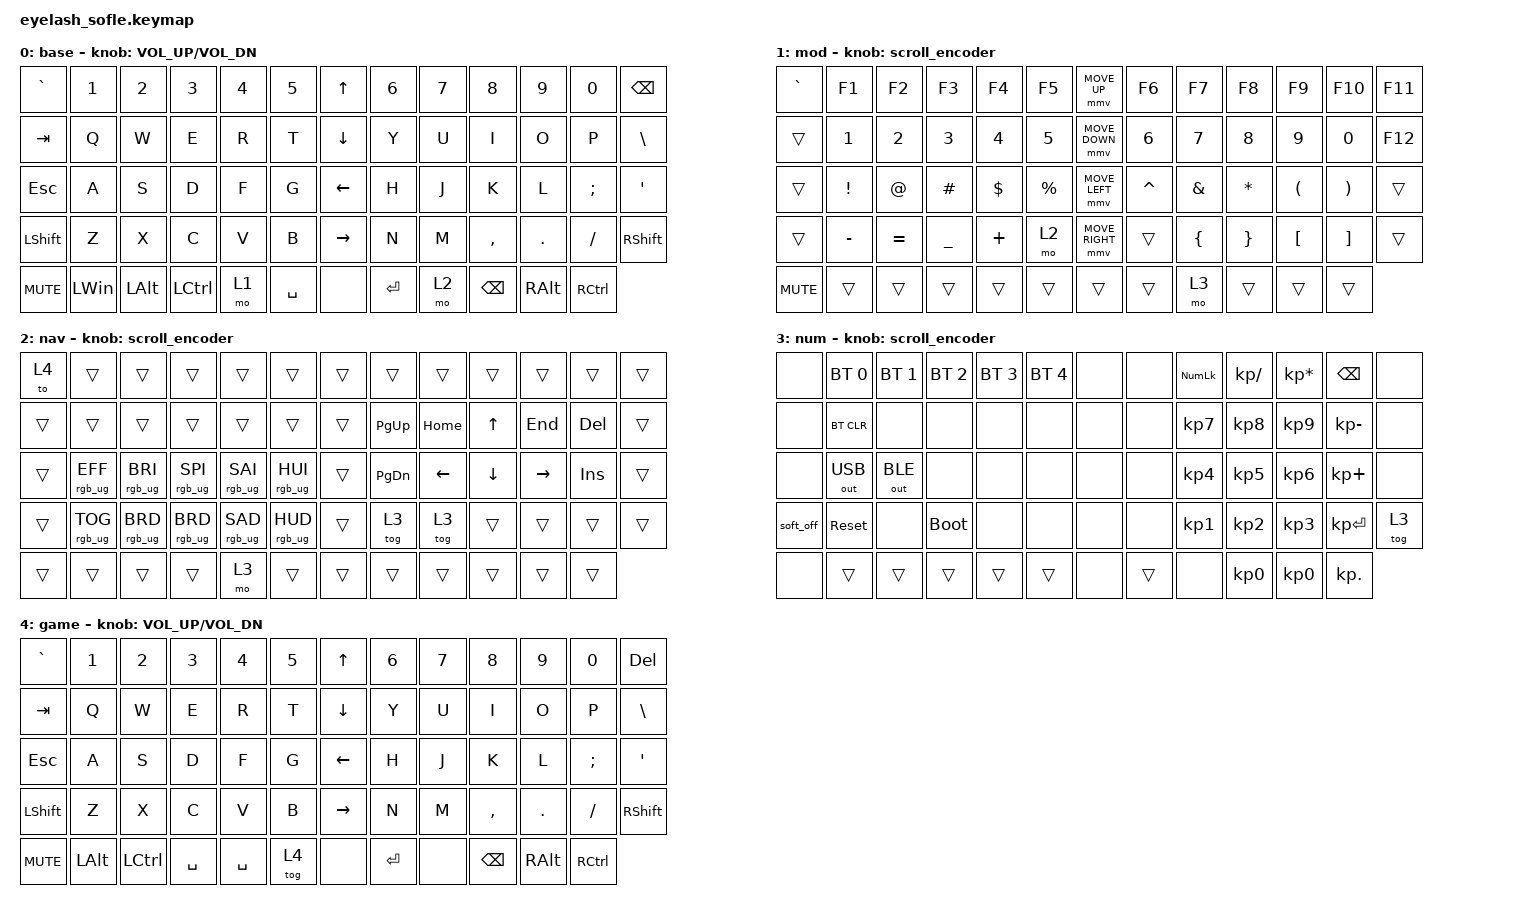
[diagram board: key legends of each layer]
#define ZMK_POINTING_DEFAULT_MOVE_VAL 1200  // 600
#define ZMK_POINTING_DEFAULT_SCRL_VAL 25   // 10

#include <input/processors.dtsi>
#include <zephyr/dt-bindings/input/input-event-codes.h>
#include <behaviors.dtsi>
#include <dt-bindings/zmk/bt.h>
#include <dt-bindings/zmk/keys.h>
#include <dt-bindings/zmk/outputs.h>
#include <dt-bindings/zmk/pointing.h>
#include <dt-bindings/zmk/rgb.h>

&mmv_input_listener { input-processors = <&zip_xy_scaler 2 1>; };

&msc_input_listener { input-processors = <&zip_scroll_scaler 2 1>; };

&msc {
    acceleration-exponent = <1>;      // 0
    time-to-max-speed-ms = <100>;       // 300
    delay-ms = <0>;                   // 0
};

&mmv {
    time-to-max-speed-ms = <500>;
    acceleration-exponent = <1>;
    trigger-period-ms = <16>;
};

&soft_off { hold-time-ms = <2000>; };

/ {
    scroll_encoder: scroll_encoder {
        compatible = "zmk,behavior-sensor-rotate";
        #sensor-binding-cells = <0>;
        bindings = <&msc SCRL_DOWN>, <&msc SCRL_UP>;

        tap-ms = <100>;
    };

    behaviors {
    };

    combos {
        compatible = "zmk,combos";

        softoff {
            bindings = <&soft_off>;
            key-positions = <14 28 40>;
        };
    };

    keymap {
        compatible = "zmk,keymap";

        BASE {
            bindings = <
&kp GRAVE   &kp N1        &kp N2    &kp N3            &kp N4  &kp N5       &kp UP_ARROW     &kp N6     &kp N7  &kp N8         &kp N9         &kp N0             &kp BACKSPACE
&kp TAB     &kp Q         &kp W     &kp E             &kp R   &kp T        &kp DOWN_ARROW   &kp Y      &kp U   &kp I          &kp O          &kp P              &kp BSLH
&kp ESCAPE  &kp A         &kp S     &kp D             &kp F   &kp G        &kp LEFT_ARROW   &kp H      &kp J   &kp K          &kp L          &kp SEMI           &kp APOS
&kp LSHFT   &kp Z         &kp X     &kp C             &kp V   &kp B        &kp RIGHT_ARROW  &kp N      &kp M   &kp COMMA      &kp DOT        &kp FSLH           &kp RIGHT_SHIFT
&kp C_MUTE  &kp LEFT_WIN  &kp LALT  &kp LEFT_CONTROL  &mo 1   &kp SPACE    &none            &kp ENTER  &mo 2   &kp BACKSPACE  &kp RIGHT_ALT  &kp RIGHT_CONTROL
            >;

            sensor-bindings = <&inc_dec_kp C_VOLUME_UP C_VOL_DN>;
            display-name = "base";
        };

        MOD {
            bindings = <
&kp GRAVE   &kp F1           &kp F2       &kp F3          &kp F4      &kp F5         &mmv MOVE_UP     &kp F6     &kp F7          &kp F8           &kp F9                &kp F10                &kp F11
&trans      &kp N1           &kp N2       &kp N3          &kp N4      &kp N5         &mmv MOVE_DOWN   &kp N6     &kp N7          &kp N8           &kp N9                &kp N0                 &kp F12
&trans      &kp EXCLAMATION  &kp AT_SIGN  &kp HASH        &kp DOLLAR  &kp PERCENT    &mmv MOVE_LEFT   &kp CARET  &kp AMPERSAND   &kp ASTERISK     &kp LEFT_PARENTHESIS  &kp RIGHT_PARENTHESIS  &trans
&trans      &kp MINUS        &kp EQUAL    &kp UNDERSCORE  &kp PLUS    &mo 2          &mmv MOVE_RIGHT  &trans     &kp LEFT_BRACE  &kp RIGHT_BRACE  &kp LBKT              &kp RBKT               &trans
&kp C_MUTE  &trans           &trans       &trans          &trans      &trans         &trans           &trans     &mo 3           &trans           &trans                &trans
            >;

            display-name = "mod";
            sensor-bindings = <&scroll_encoder>;
        };

        NAV {
            bindings = <
&to 4   &trans           &trans           &trans           &trans           &trans             &trans  &trans         &trans    &trans        &trans     &trans   &trans
&trans  &trans           &trans           &trans           &trans           &trans             &trans  &kp PAGE_UP    &kp HOME  &kp UP_ARROW  &kp END    &kp DEL  &trans
&trans  &rgb_ug RGB_EFF  &rgb_ug RGB_BRI  &rgb_ug RGB_SPI  &rgb_ug RGB_SAI  &rgb_ug RGB_HUI    &trans  &kp PAGE_DOWN  &kp LEFT  &kp DOWN      &kp RIGHT  &kp INS  &trans
&trans  &rgb_ug RGB_TOG  &rgb_ug RGB_BRD  &rgb_ug RGB_BRD  &rgb_ug RGB_SAD  &rgb_ug RGB_HUD    &trans  &tog 3         &tog 3    &trans        &trans     &trans   &trans
&trans  &trans           &trans           &trans           &mo 3            &trans             &trans  &trans         &trans    &trans        &trans     &trans
            >;

            display-name = "nav";
            sensor-bindings = <&scroll_encoder>;
        };

        NUM {
            display-name = "num";
            bindings = <
&none      &bt BT_SEL 0  &bt BT_SEL 1  &bt BT_SEL 2  &bt BT_SEL 3  &bt BT_SEL 4    &none  &none   &kp KP_NUMLOCK   &kp KP_SLASH     &kp KP_MULTIPLY  &kp BACKSPACE  &none
&none      &bt BT_CLR    &none         &none         &none         &none           &none  &none   &kp KP_NUMBER_7  &kp KP_NUMBER_8  &kp KP_NUMBER_9  &kp KP_MINUS   &none
&none      &out OUT_USB  &out OUT_BLE  &none         &none         &none           &none  &none   &kp KP_NUMBER_4  &kp KP_NUMBER_5  &kp KP_NUMBER_6  &kp KP_PLUS    &none
&soft_off  &sys_reset    &none         &bootloader   &none         &none           &none  &none   &kp KP_NUMBER_1  &kp KP_NUMBER_2  &kp KP_NUMBER_3  &kp KP_ENTER   &tog 3
&none      &trans        &trans        &trans        &trans        &trans          &none  &trans  &none            &kp KP_NUMBER_0  &kp KP_NUMBER_0  &kp KP_DOT
            >;

            sensor-bindings = <&scroll_encoder>;
        };

        GAME {
            display-name = "game";
            bindings = <
&kp GRAVE   &kp N1        &kp N2     &kp N3     &kp N4     &kp N5    &kp UP_ARROW     &kp N6     &kp N7  &kp N8         &kp N9         &kp N0             &kp DEL
&kp TAB     &kp Q         &kp W      &kp E      &kp R      &kp T     &kp DOWN_ARROW   &kp Y      &kp U   &kp I          &kp O          &kp P              &kp BSLH
&kp ESCAPE  &kp A         &kp S      &kp D      &kp F      &kp G     &kp LEFT_ARROW   &kp H      &kp J   &kp K          &kp L          &kp SEMI           &kp APOS
&kp LSHFT   &kp Z         &kp X      &kp C      &kp V      &kp B     &kp RIGHT_ARROW  &kp N      &kp M   &kp COMMA      &kp DOT        &kp FSLH           &kp RIGHT_SHIFT
&kp C_MUTE  &kp LEFT_ALT  &kp LCTRL  &kp SPACE  &kp SPACE  &tog 4    &none            &kp ENTER  &none   &kp BACKSPACE  &kp RIGHT_ALT  &kp RIGHT_CONTROL
            >;

            sensor-bindings = <&inc_dec_kp C_VOLUME_UP C_VOL_DN>;
        };
    };
};
